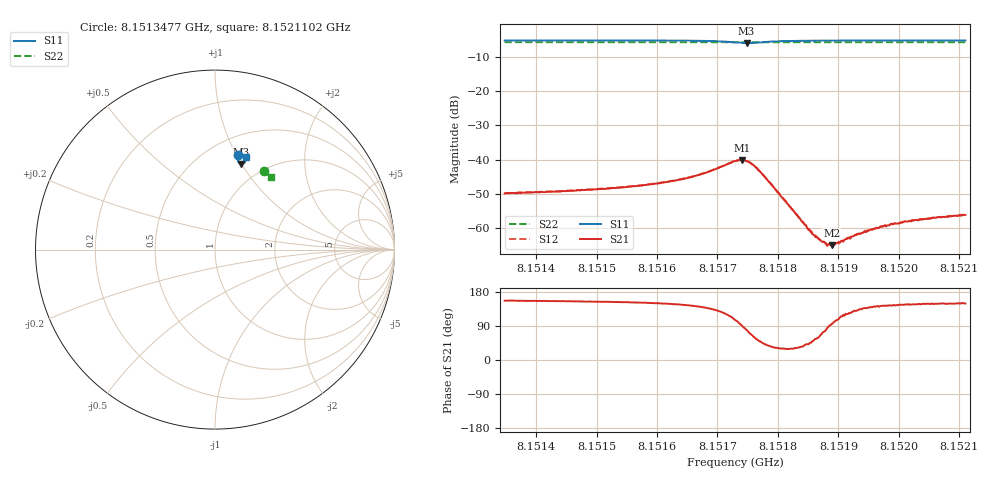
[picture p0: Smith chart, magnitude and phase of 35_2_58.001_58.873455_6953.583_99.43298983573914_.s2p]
#  HZ  S  RI  R  50.00
! Rohde & Schwarz Vector Network Analyzer
! Rohde-Schwarz,ZNB20-2Port,1311601062101988,3.16
! Created: UTC 3/21/2024, 12:51:51 AM
! freq[Hz]  re:S11  im:S11  re:S21  im:S21  re:S12  im:S12  re:S22  im:S22
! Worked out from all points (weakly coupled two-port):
!   401 points, 8.1513477 GHz to 8.1521102 GHz, reference 50 ohm
!   highest |S21| = -40.06 dB at 8.1517404 GHz (marker M1); lowest = -64.9 dB at 8.1518891 GHz (marker M2)
!   lowest |S11| = -6.1 dB at 8.151748 GHz (marker M3), VSWR 2.99, Z = 39.1 + j49.6 ohm
!   |S11| at or under -10 dB: nowhere
!   |S22| runs from -5.8 to -5.8 dB; largest |S21 - S12| = 0.00026
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8.15134773e9  0.1309 0.5278  -0.00296 0.00129  -0.00298 0.00134  0.2731 0.4354
8.15147545e9  0.1414 0.5248  -0.00328 0.00156  -0.00326 0.00164  0.2799 0.4309
8.15153836e9  0.1474 0.5231  -0.0035 0.0018  -0.00347 0.00185  0.2834 0.4284
8.15160317e9  0.1541 0.52  -0.00392 0.00229  -0.00393 0.00239  0.287 0.4259
8.15165845e9  0.1622 0.5144  -0.00454 0.00341  -0.0045 0.00351  0.2899 0.4237
8.15168514e9  0.1667 0.5085  -0.00487 0.0046  -0.00482 0.0047  0.2913 0.4224
8.15172899e9  0.1637 0.4834  -0.00256 0.00917  -0.00264 0.00921  0.2931 0.42
8.15174042e9  0.1529 0.4772  -0.000139 0.00993  -7.44e-05 0.00991  0.2932 0.4195
8.15174805e9  0.1433 0.4771  0.00174 0.00933  0.0019 0.00945  0.2932 0.4196
8.15175758e9  0.1332 0.483  0.00362 0.00773  0.00374 0.00779  0.2934 0.4195
8.15177093e9  0.1275 0.4956  0.00436 0.00503  0.00451 0.005  0.2941 0.4196
8.15185671e9  0.1476 0.5193  0.000549 0.000629  0.000591 0.000646  0.2994 0.417
8.15187005e9  0.1498 0.5197  0.000284 0.00062  0.000266 0.000611  0.3001 0.4163
8.15187768e9  0.151 0.5198  0.000148 0.000607  0.000182 0.000591  0.3006 0.416
8.1518834e9  0.1519 0.5197  2.65e-05 0.000576  4.33e-05 0.000598  0.301 0.4159
8.15188911e9  0.1527 0.5197  -5.23e-05 0.000567  -2.88e-05 0.000598  0.3014 0.4156
8.15190436e9  0.1548 0.5196  -0.000279 0.000589  -0.00027 0.000597  0.3021 0.4149
8.1519139e9  0.156 0.5196  -0.000362 0.000609  -0.000364 0.000609  0.3025 0.4146
8.15193105e9  0.1579 0.5194  -0.000544 0.000628  -0.000533 0.000607  0.3034 0.414
8.15198443e9  0.1634 0.5185  -0.000894 0.000666  -0.000904 0.000663  0.3063 0.4118
8.15202637e9  0.1673 0.5176  -0.00111 0.000729  -0.00111 0.000734  0.3083 0.4103
8.15211024e9  0.174 0.5158  -0.00135 0.000808  -0.00134 0.000802  0.3127 0.4068
